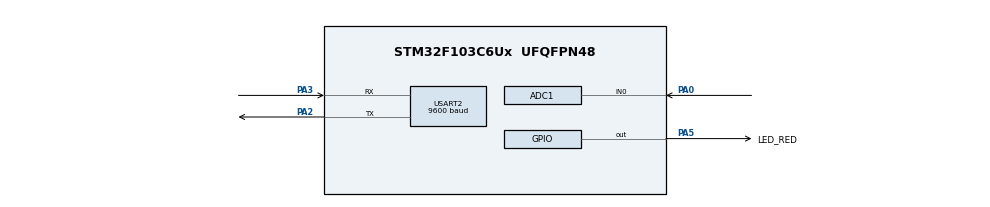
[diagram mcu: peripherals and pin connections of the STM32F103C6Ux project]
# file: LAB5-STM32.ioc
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ADC1.Channel-0\#ChannelRegularConversion=ADC_CHANNEL_0
ADC1.ContinuousConvMode=ENABLE
ADC1.NbrOfConversionFlag=1
ADC1.Rank-0\#ChannelRegularConversion=1
ADC1.SamplingTime-0\#ChannelRegularConversion=ADC_SAMPLETIME_1CYCLE_5
ADC1.master=1
Mcu.Family=STM32F1
Mcu.Name=STM32F103C6Ux
Mcu.Package=UFQFPN48
NVIC.PriorityGroup=NVIC_PRIORITYGROUP_4
NVIC.TIM2_IRQn=true\:0\:0\:false\:false\:true\:true\:true
NVIC.USART2_IRQn=true\:0\:0\:false\:false\:true\:true\:true
PA0-WKUP.Signal=ADCx_IN0
PA2.Mode=Asynchronous
PA2.Signal=USART2_TX
PA3.Mode=Asynchronous
PA3.Signal=USART2_RX
PA5.GPIO_Label=LED_RED
PA5.Signal=GPIO_Output
ProjectManager.HeapSize=0x200
ProjectManager.StackSize=0x400
ProjectManager.TargetToolchain=STM32CubeIDE
RCC.APB1Freq_Value=8000000
RCC.APB2Freq_Value=8000000
SH.ADCx_IN0.0=ADC1_IN0,IN0
TIM2.Period=9
TIM2.Prescaler=7999
USART2.BaudRate=9600
USART2.VirtualMode=VM_ASYNC
VP_SYS_VS_ND.Mode=No_Debug
VP_TIM2_VS_ClockSourceINT.Mode=Internal
board=custom

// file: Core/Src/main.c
/* USER CODE BEGIN Header */
/**
  ******************************************************************************
  * @file           : main.c
  * @brief          : Main program body
  ******************************************************************************
  * @attention
  *
  * <h2><center>&copy; Copyright (c) 2022 STMicroelectronics.
  * All rights reserved.</center></h2>
  *
  * This software component is licensed by ST under BSD 3-Clause license,
  * the "License"; You may not use this file except in compliance with the
  * License. You may obtain a copy of the License at:
  *                        opensource.org/licenses/BSD-3-Clause
  *
  ******************************************************************************
  */
/* USER CODE END Header */
#include "main.h"

/* USER CODE BEGIN Includes */

#include <stdio.h>
#include "fsm.h"
#include "software_timer.h"
/* USER CODE END Includes */

/* USER CODE BEGIN PD */
int index_buffer = 0;
/* USER CODE END PD */

ADC_HandleTypeDef hadc1;

TIM_HandleTypeDef htim2;

UART_HandleTypeDef huart2;

void SystemClock_Config(void);
static void MX_GPIO_Init(void);
static void MX_ADC1_Init(void);
static void MX_USART2_UART_Init(void);
static void MX_TIM2_Init(void);

/* USER CODE BEGIN 0 */
uint8_t temp = 0;
void HAL_UART_RxCpltCallback(UART_HandleTypeDef *huart) {
	if (huart->Instance == USART2) {
		HAL_UART_Transmit(&huart2, &buffer_bytes, 1, 50);
		buffer[index_buffer] = buffer_bytes;
		index_buffer++;
		if (index_buffer >= MAX_BUFFER_SIZE) index_buffer = 0;
		buffer_flag = 1;
		HAL_UART_Receive_IT(&huart2, &buffer_bytes, 1);
	}
}
//int ADC_value = 0;
//char str[50];
//void getADCValue() {
//	ADC_value = HAL_ADC_GetValue(&hadc1);
//	HAL_UART_Transmit(&huart2, (void*)str, sprintf(str, "ADC VALUE: %d\r\n", ADC_value), 1000);
//}
/* USER CODE END 0 */

int main(void)
{

  /* MCU Configuration--------------------------------------------------------*/

  /* Reset of all peripherals, Initializes the Flash interface and the Systick. */
  HAL_Init();

  /* Configure the system clock */
  SystemClock_Config();

  /* Initialize all configured peripherals */
  MX_GPIO_Init();
  MX_ADC1_Init();
  MX_USART2_UART_Init();
  MX_TIM2_Init();
  /* USER CODE BEGIN 2 */
  HAL_ADC_Start(&hadc1);
  HAL_TIM_Base_Start_IT(&htim2);
  HAL_UART_Receive_IT(&huart2, &temp, 1);
  setTimer1(100);	//Timer for LED blinking
  /* USER CODE END 2 */
  /* Infinite loop */
  while (1)
  {

    /* USER CODE BEGIN 3 */
	  if (buffer_flag == 1) {
		  command_parser_fsm();
		  buffer_flag = 0;
	  }
	  uart_communication_fsm();
	  if (timer1_flag) {
		  HAL_GPIO_TogglePin(LED_RED_GPIO_Port, LED_RED_Pin);
		  setTimer1(100);
	  }
  }
  /* USER CODE END 3 */
}

void SystemClock_Config(void)
{
  RCC_OscInitTypeDef RCC_OscInitStruct = {0};
  RCC_ClkInitTypeDef RCC_ClkInitStruct = {0};
  RCC_PeriphCLKInitTypeDef PeriphClkInit = {0};

  /** Initializes the RCC Oscillators according to the specified parameters
  * in the RCC_OscInitTypeDef structure.
  */
  RCC_OscInitStruct.OscillatorType = RCC_OSCILLATORTYPE_HSI;
  RCC_OscInitStruct.HSIState = RCC_HSI_ON;
  RCC_OscInitStruct.HSICalibrationValue = RCC_HSICALIBRATION_DEFAULT;
  RCC_OscInitStruct.PLL.PLLState = RCC_PLL_NONE;
  if (HAL_RCC_OscConfig(&RCC_OscInitStruct) != HAL_OK)
  {
    Error_Handler();
  }
  /** Initializes the CPU, AHB and APB buses clocks
  */
  RCC_ClkInitStruct.ClockType = RCC_CLOCKTYPE_HCLK|RCC_CLOCKTYPE_SYSCLK
                              |RCC_CLOCKTYPE_PCLK1|RCC_CLOCKTYPE_PCLK2;
  RCC_ClkInitStruct.SYSCLKSource = RCC_SYSCLKSOURCE_HSI;
  RCC_ClkInitStruct.AHBCLKDivider = RCC_SYSCLK_DIV1;
  RCC_ClkInitStruct.APB1CLKDivider = RCC_HCLK_DIV1;
  RCC_ClkInitStruct.APB2CLKDivider = RCC_HCLK_DIV1;

  if (HAL_RCC_ClockConfig(&RCC_ClkInitStruct, FLASH_LATENCY_0) != HAL_OK)
  {
    Error_Handler();
  }
  PeriphClkInit.PeriphClockSelection = RCC_PERIPHCLK_ADC;
  PeriphClkInit.AdcClockSelection = RCC_ADCPCLK2_DIV2;
  if (HAL_RCCEx_PeriphCLKConfig(&PeriphClkInit) != HAL_OK)
  {
    Error_Handler();
  }
}

static void MX_ADC1_Init(void)
{

  ADC_ChannelConfTypeDef sConfig = {0};

  /** Common config
  */
  hadc1.Instance = ADC1;
  hadc1.Init.ScanConvMode = ADC_SCAN_DISABLE;
  hadc1.Init.ContinuousConvMode = ENABLE;
  hadc1.Init.DiscontinuousConvMode = DISABLE;
  hadc1.Init.ExternalTrigConv = ADC_SOFTWARE_START;
  hadc1.Init.DataAlign = ADC_DATAALIGN_RIGHT;
  hadc1.Init.NbrOfConversion = 1;
  if (HAL_ADC_Init(&hadc1) != HAL_OK)
  {
    Error_Handler();
  }
  /** Configure Regular Channel
  */
  sConfig.Channel = ADC_CHANNEL_0;
  sConfig.Rank = ADC_REGULAR_RANK_1;
  sConfig.SamplingTime = ADC_SAMPLETIME_1CYCLE_5;
  if (HAL_ADC_ConfigChannel(&hadc1, &sConfig) != HAL_OK)
  {
    Error_Handler();
  }

}

static void MX_TIM2_Init(void)
{

  TIM_ClockConfigTypeDef sClockSourceConfig = {0};
  TIM_MasterConfigTypeDef sMasterConfig = {0};

  htim2.Instance = TIM2;
  htim2.Init.Prescaler = 7999;
  htim2.Init.CounterMode = TIM_COUNTERMODE_UP;
  htim2.Init.Period = 9;
  htim2.Init.ClockDivision = TIM_CLOCKDIVISION_DIV1;
  htim2.Init.AutoReloadPreload = TIM_AUTORELOAD_PRELOAD_DISABLE;
  if (HAL_TIM_Base_Init(&htim2) != HAL_OK)
  {
    Error_Handler();
  }
  sClockSourceConfig.ClockSource = TIM_CLOCKSOURCE_INTERNAL;
  if (HAL_TIM_ConfigClockSource(&htim2, &sClockSourceConfig) != HAL_OK)
  {
    Error_Handler();
  }
  sMasterConfig.MasterOutputTrigger = TIM_TRGO_RESET;
  sMasterConfig.MasterSlaveMode = TIM_MASTERSLAVEMODE_DISABLE;
  if (HAL_TIMEx_MasterConfigSynchronization(&htim2, &sMasterConfig) != HAL_OK)
  {
    Error_Handler();
  }

}

static void MX_USART2_UART_Init(void)
{

  huart2.Instance = USART2;
  huart2.Init.BaudRate = 9600;
  huart2.Init.WordLength = UART_WORDLENGTH_8B;
  huart2.Init.StopBits = UART_STOPBITS_1;
  huart2.Init.Parity = UART_PARITY_NONE;
  huart2.Init.Mode = UART_MODE_TX_RX;
  huart2.Init.HwFlowCtl = UART_HWCONTROL_NONE;
  huart2.Init.OverSampling = UART_OVERSAMPLING_16;
  if (HAL_UART_Init(&huart2) != HAL_OK)
  {
    Error_Handler();
  }

}

static void MX_GPIO_Init(void)
{
  GPIO_InitTypeDef GPIO_InitStruct = {0};

  /* GPIO Ports Clock Enable */
  __HAL_RCC_GPIOA_CLK_ENABLE();

  /*Configure GPIO pin Output Level */
  HAL_GPIO_WritePin(LED_RED_GPIO_Port, LED_RED_Pin, GPIO_PIN_RESET);

  /*Configure GPIO pin : LED_RED_Pin */
  GPIO_InitStruct.Pin = LED_RED_Pin;
  GPIO_InitStruct.Mode = GPIO_MODE_OUTPUT_PP;
  GPIO_InitStruct.Pull = GPIO_NOPULL;
  GPIO_InitStruct.Speed = GPIO_SPEED_FREQ_LOW;
  HAL_GPIO_Init(LED_RED_GPIO_Port, &GPIO_InitStruct);

}

/* USER CODE BEGIN 4 */
void HAL_TIM_PeriodElapsedCallback(TIM_HandleTypeDef *htim) {
	timerRun();
}
/* USER CODE END 4 */

void Error_Handler(void)
{
  __disable_irq();
  while (1)
  {
  }
}

/************************ (C) COPYRIGHT STMicroelectronics *****END OF FILE****/
